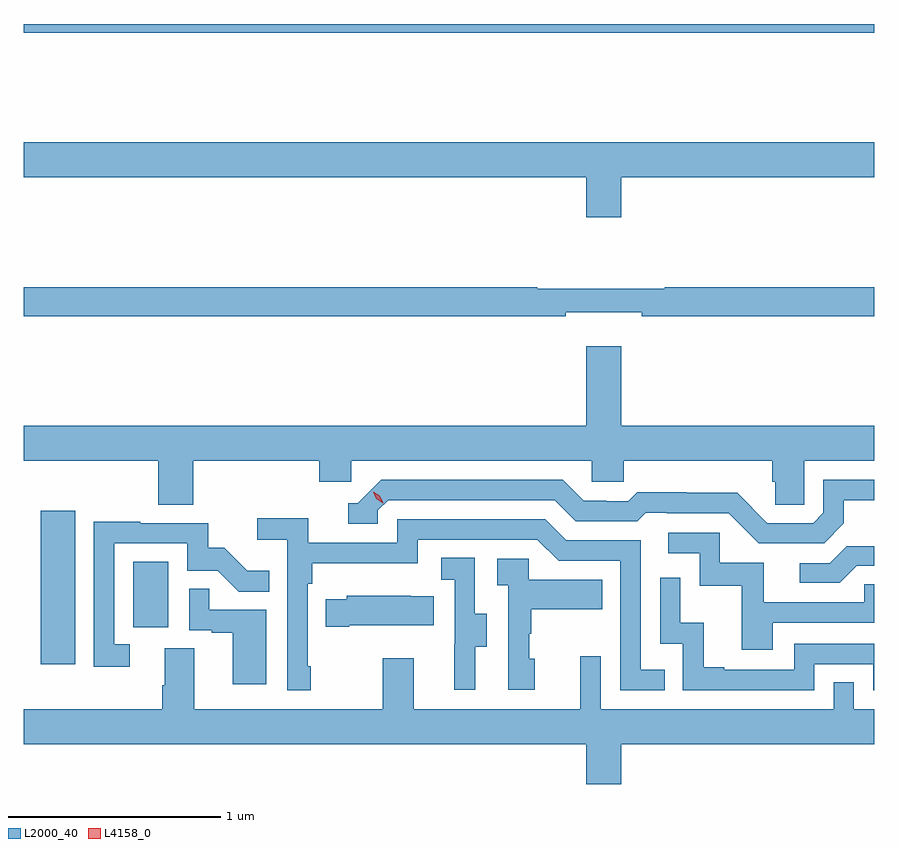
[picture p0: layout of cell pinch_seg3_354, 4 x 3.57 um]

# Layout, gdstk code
import gdstk
lib = gdstk.Library(unit=1e-6, precision=1e-09)
def R(c, l, rs):  # rectangles x0, y0, x1, y1
    for r in rs: c.add(gdstk.rectangle(r[:2], r[2:], *l))
def P(c, l, *ps):  # polygons
    for p in ps: c.add(gdstk.Polygon(p, *l))
L2000_40 = (2000, 40)
L4158_0 = (4158, 0)

pinch_seg3_354 = lib.new_cell('pinch_seg3_354')
R(pinch_seg3_354, L2000_40, [(977.627,697.296,977.788,698.017), (978.062,697.47,978.226,697.777), (977.546,700.264,981.546,700.305)])
P(pinch_seg3_354, L2000_40, [(980.356,699.584),(981.546,699.584),(981.546,699.748),(977.546,699.748),(977.546,699.584),(980.192,699.584),(980.192,699.396),(980.356,699.396)],
  [(980.096,698.951),(980.452,698.951),(980.452,698.932),(981.546,698.932),(981.546,699.068),(980.56,699.068),(980.56,699.061),(979.96,699.061),(979.96,699.068),(977.546,699.068),(977.546,698.932),(980.096,698.932)],
  [(978.344,698.252),(978.935,698.252),(978.935,698.154),(979.086,698.154),(979.086,698.252),(980.217,698.252),(980.217,698.154),(980.367,698.154),(980.367,698.252),(981.065,698.252),(981.065,698.154),(981.079,698.154),(981.079,698.044),(981.216,698.044),(981.216,698.252),(981.546,698.252),(981.546,698.416),(980.356,698.416),(980.356,698.791),(980.192,698.791),(980.192,698.416),(977.546,698.416),(977.546,698.252),(978.179,698.252),(978.179,698.044),(978.344,698.044)],
  [(981.403,697.957),(981.403,698.067),(981.546,698.067),(981.546,698.163),(981.306,698.163),(981.306,698.007),(981.258,697.959),(981.042,697.959),(980.9,698.101),(980.664,698.101),(980.664,698.104),(980.431,698.104),(980.389,698.061),(980.286,698.061),(980.286,698.064),(980.179,698.064),(980.08,698.163),(979.227,698.163),(979.116,698.052),(979.073,698.052),(979.073,697.956),(979.212,697.956),(979.212,698.019),(979.26,698.067),(980.043,698.067),(980.142,697.968),(980.431,697.968),(980.47,698.007),(980.569,698.007),(980.569,698.004),(980.862,698.004),(981.003,697.863),(981.309,697.863)],
  [(978.895,697.285),(978.882,697.285),(978.882,697.673),(978.902,697.673),(978.902,697.769),(979.398,697.769),(979.398,697.881),(979.962,697.881),(980.061,697.782),(980.352,697.782),(980.352,697.173),(980.561,697.173),(980.561,697.269),(980.448,697.269),(980.448,697.878),(980.098,697.878),(979.999,697.977),(979.302,697.977),(979.302,697.866),(978.884,697.866),(978.884,697.982),(978.645,697.982),(978.645,697.88),(978.786,697.88),(978.786,697.173),(978.895,697.173)],
  [(978.046,697.389),(977.973,697.389),(977.973,697.863),(978.315,697.863),(978.315,697.734),(978.459,697.734),(978.557,697.636),(978.701,697.636),(978.701,697.735),(978.597,697.735),(978.49,697.842),(978.414,697.842),(978.414,697.959),(978.095,697.959),(978.095,697.964),(977.877,697.964),(977.877,697.284),(978.046,697.284)],
  [(981.067,697.491),(981.546,697.491),(981.546,697.671),(981.499,697.671),(981.499,697.587),(981.025,697.587),(981.025,697.773),(980.82,697.773),(980.82,697.914),(980.577,697.914),(980.577,697.818),(980.724,697.818),(980.724,697.665),(980.923,697.665),(980.923,697.362),(981.067,697.362)],
  [(981.463,697.758),(981.546,697.758),(981.546,697.85),(981.416,697.85),(981.336,697.77),(981.195,697.77),(981.195,697.677),(981.382,697.677)],
  [(979.669,697.378),(979.723,697.378),(979.723,697.533),(979.668,697.533),(979.668,697.796),(979.509,697.796),(979.509,697.693),(979.572,697.693),(979.572,697.389),(979.571,697.389),(979.571,697.176),(979.669,697.176)],
  [(979.948,697.32),(979.923,697.32),(979.923,697.439),(979.933,697.439),(979.933,697.553),(980.267,697.553),(980.267,697.693),(979.92,697.693),(979.92,697.791),(979.773,697.791),(979.773,697.667),(979.824,697.667),(979.824,697.176),(979.948,697.176)],
  [(981.264,697.296),(981.54,697.296),(981.54,697.173),(981.546,697.173),(981.546,697.392),(981.168,697.392),(981.168,697.269),(980.839,697.269),(980.839,697.282),(980.744,697.282),(980.744,697.49),(980.634,697.49),(980.634,697.702),(980.538,697.702),(980.538,697.392),(980.646,697.392),(980.646,697.173),(981.264,697.173)],
  [(978.688,697.551),(978.419,697.551),(978.419,697.649),(978.324,697.649),(978.324,697.455),(978.431,697.455),(978.431,697.443),(978.53,697.443),(978.53,697.2),(978.688,697.2)],
  [(979.078,697.478),(979.475,697.478),(979.475,697.615),(979.367,697.615),(979.367,697.618),(979.065,697.618),(979.065,697.6),(978.967,697.6),(978.967,697.471),(979.078,697.471)],
  [(980.356,696.92),(981.546,696.92),(981.546,697.084),(981.45,697.084),(981.45,697.211),(981.354,697.211),(981.354,697.084),(980.259,697.084),(980.259,697.333),(980.162,697.333),(980.162,697.084),(979.381,697.084),(979.381,697.324),(979.234,697.324),(979.234,697.084),(978.349,697.084),(978.349,697.37),(978.209,697.37),(978.209,697.196),(978.197,697.196),(978.197,697.084),(977.546,697.084),(977.546,696.92),(980.192,696.92),(980.192,696.732),(980.356,696.732)])
P(pinch_seg3_354, L4158_0, [(979.236,698.053),(979.205,698.073),(979.19,698.106),(979.19,698.106),(979.19,698.106),(979.221,698.086),(979.236,698.053),(979.236,698.053)])

lib.write_gds('pinch_seg3_354.gds')
